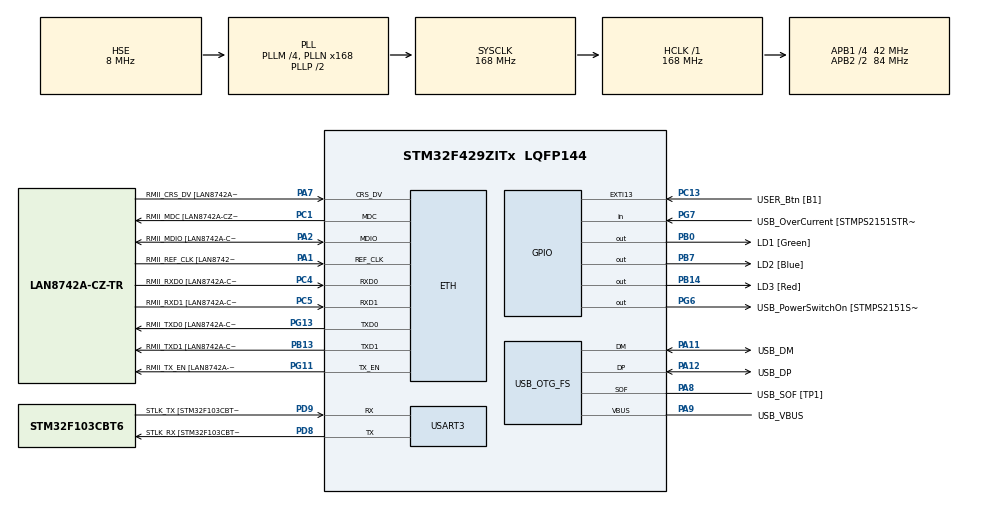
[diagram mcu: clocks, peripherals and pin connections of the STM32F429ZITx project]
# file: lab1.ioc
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ETH.MediaInterface=HAL_ETH_RMII_MODE
ETH.PHY_Name=LAN8742A_PHY_ADDRESS
ETH.PHY_Value=0
ETH.PhyAddress=0
Mcu.Family=STM32F4
Mcu.Name=STM32F429ZITx
Mcu.Package=LQFP144
NVIC.EXTI15_10_IRQn=true\:0\:0\:false\:false\:true\:true\:true\:true
NVIC.PriorityGroup=NVIC_PRIORITYGROUP_4
PA1.GPIO_Label=RMII_REF_CLK [LAN8742A-CZ-TR_REFCLK0]
PA1.Mode=RMII
PA1.Signal=ETH_REF_CLK
PA10.GPIO_Label=USB_ID
PA10.Signal=USB_OTG_FS_ID
PA11.GPIO_Label=USB_DM
PA11.Mode=Device_Only
PA11.Signal=USB_OTG_FS_DM
PA12.GPIO_Label=USB_DP
PA12.Mode=Device_Only
PA12.Signal=USB_OTG_FS_DP
PA13.GPIO_Label=TMS
PA13.Mode=Serial_Wire
PA13.Signal=SYS_JTMS-SWDIO
PA14.GPIO_Label=TCK
PA14.Mode=Serial_Wire
PA14.Signal=SYS_JTCK-SWCLK
PA2.GPIO_Label=RMII_MDIO [LAN8742A-CZ-TR_MDIO]
PA2.Mode=RMII
PA2.Signal=ETH_MDIO
PA7.GPIO_Label=RMII_CRS_DV [LAN8742A-CZ-TR_CRS_DV]
PA7.Mode=RMII
PA7.Signal=ETH_CRS_DV
PA8.GPIO_Label=USB_SOF [TP1]
PA8.Mode=Activate_SOF_FS
PA8.Signal=USB_OTG_FS_SOF
PA9.GPIO_Label=USB_VBUS
PA9.Mode=Activate_VBUS
PA9.Signal=USB_OTG_FS_VBUS
PB0.GPIO_Label=LD1 [Green]
PB0.Signal=GPIO_Output
PB13.GPIO_Label=RMII_TXD1 [LAN8742A-CZ-TR_TXD1]
PB13.Mode=RMII
PB13.Signal=ETH_TXD1
PB14.GPIO_Label=LD3 [Red]
PB14.Signal=GPIO_Output
PB7.GPIO_Label=LD2 [Blue]
PB7.Signal=GPIO_Output
PC1.GPIO_Label=RMII_MDC [LAN8742A-CZ-TR_MDC]
PC1.Mode=RMII
PC1.Signal=ETH_MDC
PC13.GPIO_Label=USER_Btn [B1]
PC13.Signal=GPXTI13
PC14/OSC32_IN.Mode=LSE-External-Oscillator
PC14/OSC32_IN.Signal=RCC_OSC32_IN
PC15/OSC32_OUT.Mode=LSE-External-Oscillator
PC15/OSC32_OUT.Signal=RCC_OSC32_OUT
PC4.GPIO_Label=RMII_RXD0 [LAN8742A-CZ-TR_RXD0]
PC4.Mode=RMII
PC4.Signal=ETH_RXD0
PC5.GPIO_Label=RMII_RXD1 [LAN8742A-CZ-TR_RXD1]
PC5.Mode=RMII
PC5.Signal=ETH_RXD1
PD8.GPIO_Label=STLK_RX [STM32F103CBT6_PA3]
PD8.Mode=Asynchronous
PD8.Signal=USART3_TX
PD9.GPIO_Label=STLK_TX [STM32F103CBT6_PA2]
PD9.Mode=Asynchronous
PD9.Signal=USART3_RX
PG11.GPIO_Label=RMII_TX_EN [LAN8742A-CZ-TR_TXEN]
PG11.Mode=RMII
PG11.Signal=ETH_TX_EN
PG13.GPIO_Label=RMII_TXD0 [LAN8742A-CZ-TR_TXD0]
PG13.Mode=RMII
PG13.Signal=ETH_TXD0
PG6.GPIO_Label=USB_PowerSwitchOn [STMPS2151STR_EN]
PG6.Signal=GPIO_Output
PG7.GPIO_Label=USB_OverCurrent [STMPS2151STR_FAULT]
PG7.Signal=GPIO_Input
PH0/OSC_IN.GPIO_Label=MCO [STM32F103CBT6_PA8]
PH0/OSC_IN.Mode=HSE-External-Clock-Source
PH0/OSC_IN.Signal=RCC_OSC_IN
PH1/OSC_OUT.Mode=HSE-External-Clock-Source
PH1/OSC_OUT.Signal=RCC_OSC_OUT
ProjectManager.HeapSize=0x200
ProjectManager.StackSize=0x400
ProjectManager.TargetToolchain=STM32CubeIDE
RCC.48MHZClocksFreq_Value=48000000
RCC.AHBFreq_Value=168000000
RCC.APB1CLKDivider=RCC_HCLK_DIV4
RCC.APB1Freq_Value=42000000
RCC.APB1TimFreq_Value=84000000
RCC.APB2CLKDivider=RCC_HCLK_DIV2
RCC.APB2Freq_Value=84000000
RCC.APB2TimCLKDivider=2
RCC.APB2TimFreq_Value=168000000
RCC.CortexFreq_Value=168000000
RCC.HCLKFreq_Value=168000000
RCC.HSE_VALUE=8000000
RCC.HSI_VALUE=16000000
RCC.PLLM=4
RCC.PLLMUL=RCC_PLL_MUL9
RCC.PLLN=168
RCC.PLLQ=7
RCC.PRESCALERUSB=RCC_USBCLKSOURCE_PLL_DIV1_5
RCC.SYSCLKFreq_VALUE=168000000
RCC.SYSCLKSource=RCC_SYSCLKSOURCE_PLLCLK
RCC.SYSCLKSourceVirtual=RCC_SYSCLKSOURCE_PLLCLK
RCC.USBFreq_Value=48000000
RCC.VCOOutputFreq_Value=336000000
USART3.VirtualMode=VM_ASYNC
USB_OTG_FS.VirtualMode=Device_Only
board=NUCLEO-F429ZI

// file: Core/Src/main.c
/* USER CODE BEGIN Header */
/**
  ******************************************************************************
  * @file           : main.c
  * @brief          : Main program body
  ******************************************************************************
  * @attention
  *
  * Copyright (c) 2024 STMicroelectronics.
  * All rights reserved.
  *
  * This software is licensed under terms that can be found in the LICENSE file
  * in the root directory of this software component.
  * If no LICENSE file comes with this software, it is provided AS-IS.
  *
  ******************************************************************************
  */
/* USER CODE END Header */
#include "main.h"
#include "string.h"

ETH_TxPacketConfig TxConfig;
ETH_DMADescTypeDef  DMARxDscrTab[ETH_RX_DESC_CNT]; /* Ethernet Rx DMA Descriptors */
ETH_DMADescTypeDef  DMATxDscrTab[ETH_TX_DESC_CNT]; /* Ethernet Tx DMA Descriptors */

ETH_HandleTypeDef heth;

UART_HandleTypeDef huart3;

PCD_HandleTypeDef hpcd_USB_OTG_FS;

/* USER CODE BEGIN PV */
volatile int current_led = 0;           // 当前 LED 索引
volatile int current_udelay = 0;     // 当前频率索引
volatile int button_press_count = 0;    // 按钮按下次数
const int udelay[] = {100, 300};   // LED 闪烁频率数组
/* USER CODE END PV */

void SystemClock_Config(void);
static void MX_GPIO_Init(void);
static void MX_ETH_Init(void);
static void MX_USART3_UART_Init(void);
static void MX_USB_OTG_FS_PCD_Init(void);

int main(void)
{

  /* MCU Configuration--------------------------------------------------------*/

  /* Reset of all peripherals, Initializes the Flash interface and the Systick. */
  HAL_Init();

  /* Configure the system clock */
  SystemClock_Config();

  /* Initialize all configured peripherals */
  MX_GPIO_Init();
  MX_ETH_Init();
  MX_USART3_UART_Init();
  MX_USB_OTG_FS_PCD_Init();

  /* Infinite loop */
  /* USER CODE BEGIN WHILE */
  while (1)
  {
	    if (current_led == 0) { // 红色
	        HAL_GPIO_WritePin(GPIOB, GPIO_PIN_7, GPIO_PIN_RESET);  // 关闭蓝色
	        HAL_GPIO_WritePin(GPIOB, GPIO_PIN_0, GPIO_PIN_RESET);  // 关闭绿色
	        HAL_GPIO_TogglePin(GPIOB, GPIO_PIN_14);               // 切换红色
	    } else if (current_led == 1) { // 绿色
	        HAL_GPIO_WritePin(GPIOB, GPIO_PIN_14, GPIO_PIN_RESET); // 关闭红色
	        HAL_GPIO_WritePin(GPIOB, GPIO_PIN_7, GPIO_PIN_RESET);  // 关闭蓝色
	        HAL_GPIO_TogglePin(GPIOB, GPIO_PIN_0);                // 切换绿色
	    } else if (current_led == 2) { // 蓝色
	        HAL_GPIO_WritePin(GPIOB, GPIO_PIN_14, GPIO_PIN_RESET); // 关闭红色
	        HAL_GPIO_WritePin(GPIOB, GPIO_PIN_0, GPIO_PIN_RESET);  // 关闭绿色
	        HAL_GPIO_TogglePin(GPIOB, GPIO_PIN_7);                // 切换蓝色
	    } else if (current_led == 3) { // 再次绿色
	        HAL_GPIO_WritePin(GPIOB, GPIO_PIN_14, GPIO_PIN_RESET); // 关闭红色
	        HAL_GPIO_WritePin(GPIOB, GPIO_PIN_7, GPIO_PIN_RESET);  // 关闭蓝色
	        HAL_GPIO_TogglePin(GPIOB, GPIO_PIN_0);                // 切换绿色
	    }
	    HAL_Delay(udelay[current_udelay]); // 延迟当前频率
    /* USER CODE END WHILE */

  }
}

void SystemClock_Config(void)
{
  RCC_OscInitTypeDef RCC_OscInitStruct = {0};
  RCC_ClkInitTypeDef RCC_ClkInitStruct = {0};

  /** Configure the main internal regulator output voltage
  */
  __HAL_RCC_PWR_CLK_ENABLE();
  __HAL_PWR_VOLTAGESCALING_CONFIG(PWR_REGULATOR_VOLTAGE_SCALE1);

  /** Initializes the RCC Oscillators according to the specified parameters
  * in the RCC_OscInitTypeDef structure.
  */
  RCC_OscInitStruct.OscillatorType = RCC_OSCILLATORTYPE_HSE;
  RCC_OscInitStruct.HSEState = RCC_HSE_BYPASS;
  RCC_OscInitStruct.PLL.PLLState = RCC_PLL_ON;
  RCC_OscInitStruct.PLL.PLLSource = RCC_PLLSOURCE_HSE;
  RCC_OscInitStruct.PLL.PLLM = 4;
  RCC_OscInitStruct.PLL.PLLN = 168;
  RCC_OscInitStruct.PLL.PLLP = RCC_PLLP_DIV2;
  RCC_OscInitStruct.PLL.PLLQ = 7;
  if (HAL_RCC_OscConfig(&RCC_OscInitStruct) != HAL_OK)
  {
    Error_Handler();
  }

  /** Initializes the CPU, AHB and APB buses clocks
  */
  RCC_ClkInitStruct.ClockType = RCC_CLOCKTYPE_HCLK|RCC_CLOCKTYPE_SYSCLK
                              |RCC_CLOCKTYPE_PCLK1|RCC_CLOCKTYPE_PCLK2;
  RCC_ClkInitStruct.SYSCLKSource = RCC_SYSCLKSOURCE_PLLCLK;
  RCC_ClkInitStruct.AHBCLKDivider = RCC_SYSCLK_DIV1;
  RCC_ClkInitStruct.APB1CLKDivider = RCC_HCLK_DIV4;
  RCC_ClkInitStruct.APB2CLKDivider = RCC_HCLK_DIV2;

  if (HAL_RCC_ClockConfig(&RCC_ClkInitStruct, FLASH_LATENCY_5) != HAL_OK)
  {
    Error_Handler();
  }
}

static void MX_ETH_Init(void)
{

   static uint8_t MACAddr[6];

  heth.Instance = ETH;
  MACAddr[0] = 0x00;
  MACAddr[1] = 0x80;
  MACAddr[2] = 0xE1;
  MACAddr[3] = 0x00;
  MACAddr[4] = 0x00;
  MACAddr[5] = 0x00;
  heth.Init.MACAddr = &MACAddr[0];
  heth.Init.MediaInterface = HAL_ETH_RMII_MODE;
  heth.Init.TxDesc = DMATxDscrTab;
  heth.Init.RxDesc = DMARxDscrTab;
  heth.Init.RxBuffLen = 1524;

  if (HAL_ETH_Init(&heth) != HAL_OK)
  {
    Error_Handler();
  }

  memset(&TxConfig, 0 , sizeof(ETH_TxPacketConfig));
  TxConfig.Attributes = ETH_TX_PACKETS_FEATURES_CSUM | ETH_TX_PACKETS_FEATURES_CRCPAD;
  TxConfig.ChecksumCtrl = ETH_CHECKSUM_IPHDR_PAYLOAD_INSERT_PHDR_CALC;
  TxConfig.CRCPadCtrl = ETH_CRC_PAD_INSERT;

}

static void MX_USART3_UART_Init(void)
{

  huart3.Instance = USART3;
  huart3.Init.BaudRate = 115200;
  huart3.Init.WordLength = UART_WORDLENGTH_8B;
  huart3.Init.StopBits = UART_STOPBITS_1;
  huart3.Init.Parity = UART_PARITY_NONE;
  huart3.Init.Mode = UART_MODE_TX_RX;
  huart3.Init.HwFlowCtl = UART_HWCONTROL_NONE;
  huart3.Init.OverSampling = UART_OVERSAMPLING_16;
  if (HAL_UART_Init(&huart3) != HAL_OK)
  {
    Error_Handler();
  }

}

static void MX_USB_OTG_FS_PCD_Init(void)
{

  hpcd_USB_OTG_FS.Instance = USB_OTG_FS;
  hpcd_USB_OTG_FS.Init.dev_endpoints = 4;
  hpcd_USB_OTG_FS.Init.speed = PCD_SPEED_FULL;
  hpcd_USB_OTG_FS.Init.dma_enable = DISABLE;
  hpcd_USB_OTG_FS.Init.phy_itface = PCD_PHY_EMBEDDED;
  hpcd_USB_OTG_FS.Init.Sof_enable = ENABLE;
  hpcd_USB_OTG_FS.Init.low_power_enable = DISABLE;
  hpcd_USB_OTG_FS.Init.lpm_enable = DISABLE;
  hpcd_USB_OTG_FS.Init.vbus_sensing_enable = ENABLE;
  hpcd_USB_OTG_FS.Init.use_dedicated_ep1 = DISABLE;
  if (HAL_PCD_Init(&hpcd_USB_OTG_FS) != HAL_OK)
  {
    Error_Handler();
  }

}

static void MX_GPIO_Init(void)
{
  GPIO_InitTypeDef GPIO_InitStruct = {0};

  /* GPIO Ports Clock Enable */
  __HAL_RCC_GPIOC_CLK_ENABLE();
  __HAL_RCC_GPIOH_CLK_ENABLE();
  __HAL_RCC_GPIOA_CLK_ENABLE();
  __HAL_RCC_GPIOB_CLK_ENABLE();
  __HAL_RCC_GPIOD_CLK_ENABLE();
  __HAL_RCC_GPIOG_CLK_ENABLE();

  /*Configure GPIO pin Output Level */
  HAL_GPIO_WritePin(GPIOB, LD1_Pin|LD3_Pin|LD2_Pin, GPIO_PIN_RESET);

  /*Configure GPIO pin Output Level */
  HAL_GPIO_WritePin(USB_PowerSwitchOn_GPIO_Port, USB_PowerSwitchOn_Pin, GPIO_PIN_RESET);

  /*Configure GPIO pin : USER_Btn_Pin */
  GPIO_InitStruct.Pin = USER_Btn_Pin;
  GPIO_InitStruct.Mode = GPIO_MODE_IT_RISING;
  GPIO_InitStruct.Pull = GPIO_NOPULL;
  HAL_GPIO_Init(USER_Btn_GPIO_Port, &GPIO_InitStruct);

  /*Configure GPIO pins : LD1_Pin LD3_Pin LD2_Pin */
  GPIO_InitStruct.Pin = LD1_Pin|LD3_Pin|LD2_Pin;
  GPIO_InitStruct.Mode = GPIO_MODE_OUTPUT_PP;
  GPIO_InitStruct.Pull = GPIO_NOPULL;
  GPIO_InitStruct.Speed = GPIO_SPEED_FREQ_LOW;
  HAL_GPIO_Init(GPIOB, &GPIO_InitStruct);

  /*Configure GPIO pin : USB_PowerSwitchOn_Pin */
  GPIO_InitStruct.Pin = USB_PowerSwitchOn_Pin;
  GPIO_InitStruct.Mode = GPIO_MODE_OUTPUT_PP;
  GPIO_InitStruct.Pull = GPIO_NOPULL;
  GPIO_InitStruct.Speed = GPIO_SPEED_FREQ_LOW;
  HAL_GPIO_Init(USB_PowerSwitchOn_GPIO_Port, &GPIO_InitStruct);

  /*Configure GPIO pin : USB_OverCurrent_Pin */
  GPIO_InitStruct.Pin = USB_OverCurrent_Pin;
  GPIO_InitStruct.Mode = GPIO_MODE_INPUT;
  GPIO_InitStruct.Pull = GPIO_NOPULL;
  HAL_GPIO_Init(USB_OverCurrent_GPIO_Port, &GPIO_InitStruct);

  /* EXTI interrupt init*/
  HAL_NVIC_SetPriority(EXTI15_10_IRQn, 0, 0);
  HAL_NVIC_EnableIRQ(EXTI15_10_IRQn);

}

void Error_Handler(void)
{
  __disable_irq();
  while (1)
  {
  }
}
